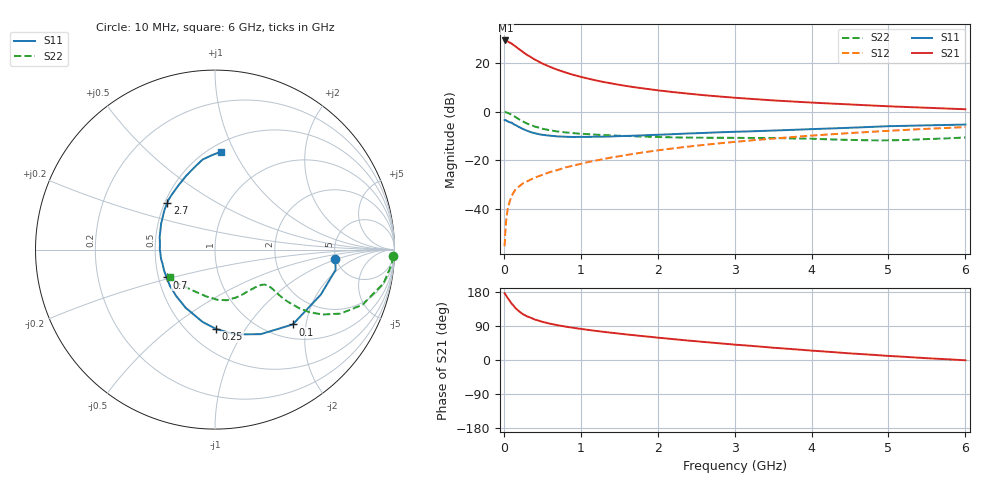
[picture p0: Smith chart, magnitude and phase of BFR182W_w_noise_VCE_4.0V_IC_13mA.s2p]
! (c) 2017  Infineon Technologies AG, Munich
! Infineon Technologies  Discrete & RF Semiconductors
! BFR182W
! VCE =  4.0 V,  IC =  13 mA
! Common Emitter S-Parameters:  Jan 2017
# GHz  S  MA  R  50
!  f  S11  S21  S12  S22
! GHz  MAG  ANG  MAG  ANG  MAG  ANG  MAG  ANG
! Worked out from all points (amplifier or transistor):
!   77 points, 10 MHz to 6 GHz, reference 50 ohm
!   highest |S21| = 29.4 dB at 20 MHz (marker M1)
!   |S21| within 3 dB of that: start of sweep to 174 MHz
!   unconditionally stable (mu >= 1): 967 MHz to 2.543 GHz
!   at 130 MHz: K = 0.33, MSG = 30.3 dB, |S12| = -33.1 dB
!   at 2.2 GHz: K = 1.02, MAG = 10.8 dB, |S12| = -15.1 dB
!   at 6 GHz: K = 0.87, MSG = 3.7 dB, |S12| = -6.3 dB
!   lowest NFmin = 1.17 dB at 450 MHz
!   S11 on the Smith chart (normalised r, x): 10 MHz: 4.90, -0.99; 100 MHz: 1.29, -1.68; 250 MHz: 0.68, -0.75; 700 MHz: 0.55, -0.19; 2.7 GHz: 0.52, +0.31; 6 GHz: 0.57, +0.89
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0.01  0.6724 -4.7  29.52 176.3  0.0017 90.4  0.9925 -2.2
0.02  0.6814 -9.5  29.67 173.2  0.0035 86.1  0.988 -4.7
0.05  0.6409 -23.0  28.43 163.4  0.0098 78.3  0.9576 -11.3
0.1  0.6014 -43.9  25.65 149.0  0.0181 72.6  0.8779 -20.5
0.15  0.5357 -61.6  22.47 137.2  0.0249 66.8  0.7832 -27.1
0.2  0.4852 -76.7  19.52 128.1  0.0291 64.3  0.7003 -31.1
0.25  0.4419 -89.3  17.08 120.7  0.0337 61.2  0.6317 -33.5
0.3  0.4088 -99.8  15.01 115.3  0.0367 61.2  0.5753 -34.8
0.4  0.3632 -116.7  12.02 106.9  0.0438 61.7  0.4992 -35.6
0.5  0.3369 -130.1  9.937 100.8  0.0502 62.6  0.4492 -35.5
0.6  0.3225 -141.0  8.468 95.9  0.0574 63.2  0.4165 -34.9
0.7  0.3116 -150.1  7.349 91.8  0.0633 65.1  0.3938 -34.4
0.9  0.3027 -164.6  5.812 85.0  0.0778 66.1  0.364 -34.2
1.1  0.3049 -176.0  4.827 79.4  0.0926 66.9  0.3466 -34.7
1.3  0.3081 174.7  4.12 74.2  0.1069 66.9  0.333 -36.0
1.5  0.316 167.3  3.611 69.7  0.1215 67.0  0.322 -38.0
2.1  0.3415 148.9  2.668 57.1  0.1686 64.8  0.3006 -47.6
2.7  0.373 135.3  2.141 45.9  0.216 61.3  0.2926 -60.3
3.1  0.3922 126.9  1.908 39.1  0.2483 58.6  0.2904 -68.7
4.1  0.4461 110.0  1.526 23.4  0.3318 50.4  0.2753 -90.2
5.1  0.5103 96.5  1.284 9.6  0.4145 41.0  0.2604 -121.4
6  0.5474 86.3  1.132 -0.7  0.4853 32.0  0.2966 -148.6
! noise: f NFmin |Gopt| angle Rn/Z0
0.45  1.17  0.04  108  0.14
0.9  1.26  0.05  122  0.14
1.9  1.73  0.23  -151  0.14
2.4  2  0.22  -136  0.21
